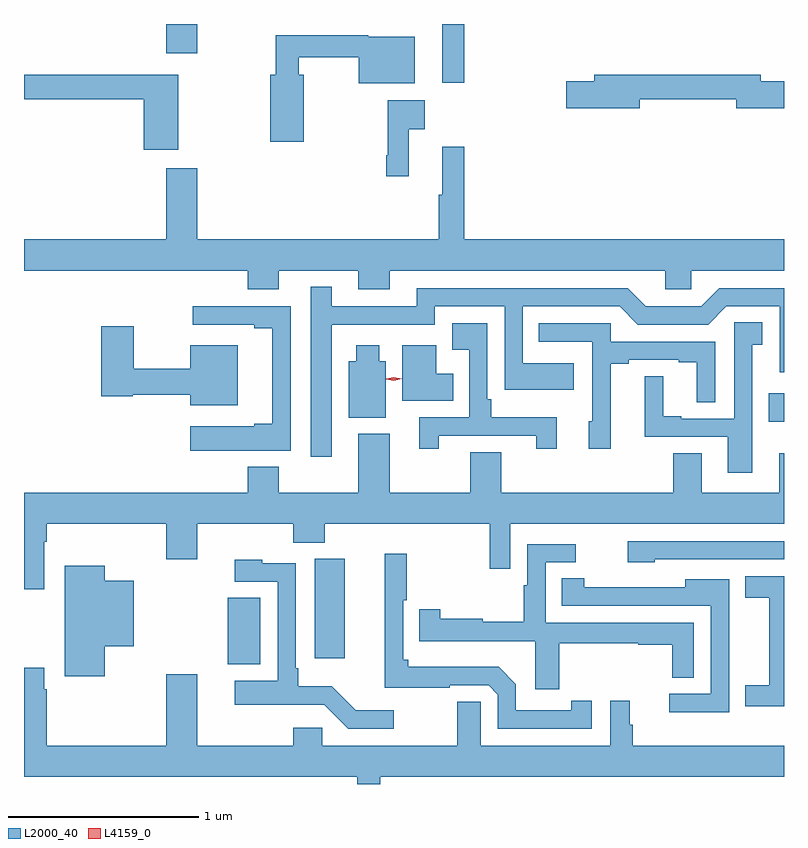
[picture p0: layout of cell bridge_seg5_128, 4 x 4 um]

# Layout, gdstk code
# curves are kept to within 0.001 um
import gdstk
lib = gdstk.Library(unit=1e-6, precision=1e-09)
def R(c, l, rs):  # rectangles x0, y0, x1, y1
    for r in rs: c.add(gdstk.rectangle(r[:2], r[2:], *l))
def P(c, l, *ps):  # polygons
    for p in ps: c.add(gdstk.Polygon(p, *l))
L2000_40 = (2000, 40)
L4159_0 = (4159, 0)

bridge_seg5_128 = lib.new_cell('bridge_seg5_128')
R(bridge_seg5_128, L2000_40, [(453.044,890.651,453.214,891.002), (453.5,890.685,453.658,891.208), (455.89,891.929,455.971,892.078), (454.172,893.712,454.289,894.022), (452.72,893.868,452.884,894.022)])
P(bridge_seg5_128, L2000_40, [(453.444,893.755),(453.418,893.755),(453.418,893.848),(453.734,893.848),(453.734,893.711),(454.027,893.711),(454.027,893.956),(453.783,893.956),(453.783,893.964),(453.297,893.964),(453.297,893.755),(453.266,893.755),(453.266,893.403),(453.444,893.403)],
  [(452.783,893.755),(451.971,893.755),(451.971,893.626),(452.6,893.626),(452.6,893.361),(452.783,893.361)],
  [(455.212,893.626),(455.72,893.626),(455.72,893.579),(455.971,893.579),(455.971,893.721),(455.848,893.721),(455.848,893.755),(454.973,893.755),(454.973,893.721),(454.824,893.721),(454.824,893.579),(455.212,893.579)],
  [(453.995,893.468),(454.081,893.468),(454.081,893.62),(453.885,893.62),(453.885,893.332),(453.877,893.332),(453.877,893.22),(453.995,893.22)],
  [(453.313,892.724),(453.731,892.724),(453.731,892.625),(453.895,892.625),(453.895,892.724),(455.345,892.724),(455.345,892.626),(455.484,892.626),(455.484,892.724),(455.971,892.724),(455.971,892.888),(454.289,892.888),(454.289,893.377),(454.172,893.377),(454.172,893.124),(454.153,893.124),(454.153,892.888),(452.884,892.888),(452.884,893.263),(452.72,893.263),(452.72,892.888),(451.971,892.888),(451.971,892.724),(453.149,892.724),(453.149,892.625),(453.313,892.625)],
  [(453.592,892.44),(454.134,892.44),(454.134,892.536),(454.5,892.536),(454.5,892.097),(454.864,892.097),(454.864,892.237),(454.596,892.237),(454.596,892.536),(455.106,892.536),(455.202,892.44),(455.571,892.44),(455.667,892.536),(455.949,892.536),(455.949,892.19),(455.971,892.19),(455.971,892.632),(455.631,892.632),(455.535,892.536),(455.244,892.536),(455.148,892.632),(454.037,892.632),(454.037,892.536),(453.592,892.536),(453.592,892.639),(453.479,892.639),(453.479,891.744),(453.592,891.744)],
  [(453.375,892.536),(452.859,892.536),(452.859,892.44),(453.182,892.44),(453.182,892.42),(453.278,892.42),(453.278,891.917),(453.182,891.917),(453.182,891.904),(452.847,891.904),(452.847,891.776),(453.375,891.776)],
  [(455.805,892.333),(455.857,892.333),(455.857,892.451),(455.709,892.451),(455.709,891.945),(455.431,891.945),(455.431,891.958),(455.336,891.958),(455.336,892.169),(455.237,892.169),(455.237,891.849),(455.675,891.849),(455.675,891.66),(455.805,891.66)],
  [(454.155,891.855),(454.668,891.855),(454.668,891.786),(454.774,891.786),(454.774,891.952),(454.43,891.952),(454.43,892.048),(454.41,892.048),(454.41,892.447),(454.226,892.447),(454.226,892.307),(454.314,892.307),(454.314,891.951),(454.05,891.951),(454.05,891.786),(454.155,891.786)],
  [(455.06,892.234),(455.155,892.234),(455.155,892.254),(455.417,892.254),(455.417,892.242),(455.513,892.242),(455.513,892.03),(455.61,892.03),(455.61,892.35),(455.058,892.35),(455.058,892.446),(454.681,892.446),(454.681,892.35),(454.962,892.35),(454.962,891.93),(454.943,891.93),(454.943,891.786),(455.06,891.786)],
  [(453.097,892.33),(452.846,892.33),(452.846,892.208),(452.548,892.208),(452.548,892.432),(452.378,892.432),(452.378,892.064),(452.544,892.064),(452.544,892.072),(452.846,892.072),(452.846,892.016),(453.097,892.016)],
  [(453.874,892.246),(453.841,892.246),(453.841,892.33),(453.719,892.33),(453.719,892.246),(453.68,892.246),(453.68,891.95),(453.874,891.95)],
  [(454.229,892.18),(454.141,892.18),(454.141,892.33),(453.962,892.33),(453.962,892.04),(454.229,892.04)],
  [(452.077,891.296),(452.09,891.296),(452.09,891.392),(452.72,891.392),(452.72,891.204),(452.884,891.204),(452.884,891.392),(453.389,891.392),(453.389,891.293),(453.554,891.293),(453.554,891.392),(454.422,891.392),(454.422,891.156),(454.53,891.156),(454.53,891.392),(455.971,891.392),(455.971,891.763),(455.945,891.763),(455.945,891.556),(455.539,891.556),(455.539,891.764),(455.387,891.764),(455.387,891.556),(454.483,891.556),(454.483,891.769),(454.319,891.769),(454.319,891.556),(453.895,891.556),(453.895,891.865),(453.731,891.865),(453.731,891.556),(453.313,891.556),(453.313,891.691),(453.149,891.691),(453.149,891.556),(451.971,891.556),(451.971,891.048),(452.077,891.048)],
  [(455.292,891.204),(455.971,891.204),(455.971,891.3),(455.148,891.3),(455.148,891.188),(455.292,891.188)],
  [(454.789,890.763),(455.203,890.763),(455.203,890.755),(455.384,890.755),(455.384,890.581),(455.496,890.581),(455.496,890.871),(454.716,890.871),(454.716,891.189),(454.876,891.189),(454.876,891.285),(454.62,891.285),(454.62,891.068),(454.6,891.068),(454.6,890.876),(454.386,890.876),(454.386,890.891),(454.162,890.891),(454.162,890.941),(454.051,890.941),(454.051,890.774),(454.661,890.774),(454.661,890.52),(454.789,890.52)],
  [(454.96,890.461),(454.85,890.461),(454.85,890.409),(454.56,890.409),(454.56,890.547),(454.469,890.638),(453.994,890.638),(453.994,890.676),(453.966,890.676),(453.966,890.99),(453.986,890.99),(453.986,891.235),(453.869,891.235),(453.869,890.529),(454.213,890.529),(454.213,890.541),(454.416,890.541),(454.464,890.493),(454.464,890.313),(454.96,890.313)],
  [(453.916,890.41),(453.718,890.41),(453.592,890.536),(453.415,890.536),(453.415,890.632),(453.402,890.632),(453.402,891.183),(453.225,891.183),(453.225,891.202),(453.081,891.202),(453.081,891.087),(453.306,891.087),(453.306,890.566),(453.081,890.566),(453.081,890.438),(453.551,890.439),(453.677,890.313),(453.916,890.313)],
  [(452.395,890.747),(452.548,890.747),(452.548,891.091),(452.395,891.091),(452.395,891.172),(452.186,891.172),(452.186,890.588),(452.395,890.588)],
  [(455.971,891.115),(455.767,891.115),(455.767,891.001),(455.894,891.001),(455.894,890.543),(455.767,890.543),(455.767,890.432),(455.971,890.432)],
  [(455.682,890.629),(455.684,890.629),(455.684,890.864),(455.682,890.864),(455.682,891.1),(455.45,891.1),(455.45,891.058),(454.92,891.058),(454.92,891.104),(454.801,891.104),(454.801,890.961),(455.586,890.961),(455.586,890.496),(455.367,890.496),(455.367,890.399),(455.682,890.399)],
  [(453.847,890.06),(455.971,890.06),(455.971,890.224),(455.176,890.224),(455.176,890.334),(455.158,890.334),(455.158,890.461),(455.057,890.461),(455.057,890.224),(454.374,890.224),(454.374,890.456),(454.252,890.456),(454.252,890.224),(453.54,890.224),(453.54,890.317),(453.389,890.317),(453.389,890.224),(452.884,890.224),(452.884,890.599),(452.72,890.599),(452.72,890.224),(452.09,890.224),(452.09,890.522),(452.077,890.522),(452.077,890.635),(451.971,890.635),(451.971,890.06),(453.725,890.06),(453.725,890.022),(453.847,890.022)])
P(bridge_seg5_128, L4159_0, [(453.918,892.144),(453.878,892.153),(453.878,892.153),(453.878,892.154),(453.918,892.164),(453.959,892.154),(453.959,892.154),(453.959,892.154)])

lib.write_gds('bridge_seg5_128.gds')
